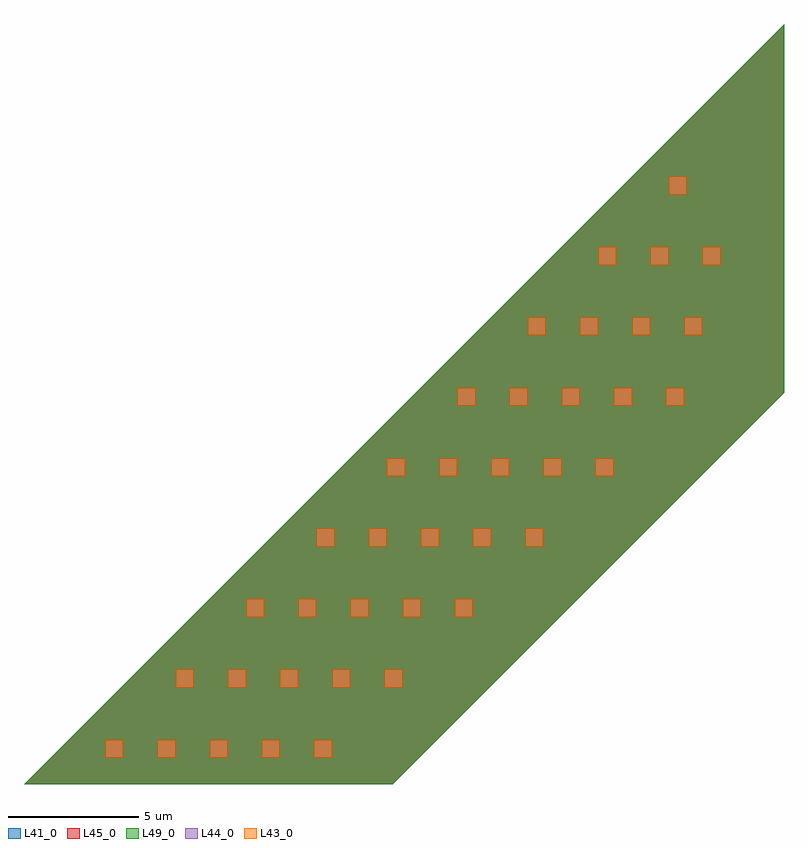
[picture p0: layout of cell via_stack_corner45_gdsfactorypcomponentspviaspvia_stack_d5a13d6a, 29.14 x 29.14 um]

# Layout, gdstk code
import gdstk
lib = gdstk.Library(unit=1e-6, precision=1e-09)
def R(c, l, rs):  # rectangles x0, y0, x1, y1
    for r in rs: c.add(gdstk.rectangle(r[:2], r[2:], *l))
def A(c, l, x, y, w, h, nx, ny, dx, dy):  # array of equal rectangles
    R(c, l, [(x+i*dx, y+j*dy, x+i*dx+w, y+j*dy+h) for i in range(nx) for j in range(ny)])
def P(c, l, *ps):  # polygons
    for p in ps: c.add(gdstk.Polygon(p, *l))
L41_0 = (41, 0)
L43_0 = (43, 0)
L44_0 = (44, 0)
L45_0 = (45, 0)
L49_0 = (49, 0)

via_stack_corner45_gdsfa = lib.new_cell('via_stack_corner45_gdsfactorypcomponentspviaspvia_stack_d5a13d6a')
P(via_stack_corner45_gdsfa, L41_0, [(-14.142,-5),(15,24.142),(15,10),(0,-5)])
A(via_stack_corner45_gdsfa, L43_0, -11.028, -4, 0.7, 0.7, 5, 1, 2, 0)
A(via_stack_corner45_gdsfa, L43_0, -8.328, -1.3, 0.7, 0.7, 5, 1, 2, 0)
A(via_stack_corner45_gdsfa, L43_0, -5.628, 1.4, 0.7, 0.7, 5, 1, 2, 0)
A(via_stack_corner45_gdsfa, L43_0, -2.928, 4.1, 0.7, 0.7, 5, 1, 2, 0)
A(via_stack_corner45_gdsfa, L43_0, -0.228, 6.8, 0.7, 0.7, 5, 1, 2, 0)
A(via_stack_corner45_gdsfa, L43_0, 2.472, 9.5, 0.7, 0.7, 5, 1, 2, 0)
A(via_stack_corner45_gdsfa, L43_0, 5.172, 12.2, 0.7, 0.7, 4, 1, 2, 0)
A(via_stack_corner45_gdsfa, L43_0, 7.872, 14.9, 0.7, 0.7, 3, 1, 2, 0)
R(via_stack_corner45_gdsfa, L43_0, [(10.572,17.6,11.272,18.3)])
A(via_stack_corner45_gdsfa, L44_0, -11.028, -4, 0.7, 0.7, 5, 1, 2, 0)
A(via_stack_corner45_gdsfa, L44_0, -8.328, -1.3, 0.7, 0.7, 5, 1, 2, 0)
A(via_stack_corner45_gdsfa, L44_0, -5.628, 1.4, 0.7, 0.7, 5, 1, 2, 0)
A(via_stack_corner45_gdsfa, L44_0, -2.928, 4.1, 0.7, 0.7, 5, 1, 2, 0)
A(via_stack_corner45_gdsfa, L44_0, -0.228, 6.8, 0.7, 0.7, 5, 1, 2, 0)
A(via_stack_corner45_gdsfa, L44_0, 2.472, 9.5, 0.7, 0.7, 5, 1, 2, 0)
A(via_stack_corner45_gdsfa, L44_0, 5.172, 12.2, 0.7, 0.7, 4, 1, 2, 0)
A(via_stack_corner45_gdsfa, L44_0, 7.872, 14.9, 0.7, 0.7, 3, 1, 2, 0)
R(via_stack_corner45_gdsfa, L44_0, [(10.572,17.6,11.272,18.3)])
P(via_stack_corner45_gdsfa, L45_0, [(-14.142,-5),(15,24.142),(15,10),(0,-5)])
P(via_stack_corner45_gdsfa, L49_0, [(-14.142,-5),(15,24.142),(15,10),(0,-5)])

lib.write_gds('via_stack_corner45_gdsfactorypcomponentspviaspvia_stack_d5a13d6a.gds')
